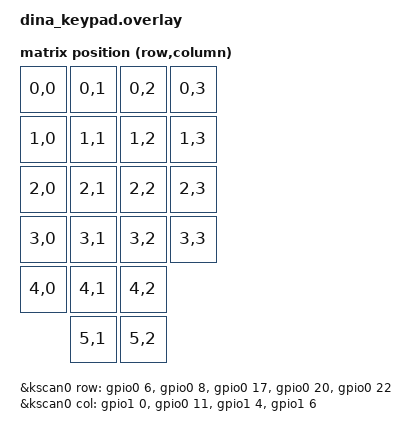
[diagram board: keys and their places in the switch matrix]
#include <dt-bindings/zmk/matrix_transform.h> // Put this with the other includes at the top of your overlay

/ {
    &kscan0 {
        compatible = "zmk,kscan-gpio-matrix";
        wakeup-source;
        diode-direction = "col2row";

        row-gpios = <&gpio0 6 (GPIO_ACTIVE_HIGH | GPIO_PULL_DOWN)>,
                    <&gpio0 8 (GPIO_ACTIVE_HIGH | GPIO_PULL_DOWN)>,
                    <&gpio0 17  (GPIO_ACTIVE_HIGH | GPIO_PULL_DOWN)>,
                    <&gpio0 20  (GPIO_ACTIVE_HIGH | GPIO_PULL_DOWN)>,
                    <&gpio0 22  (GPIO_ACTIVE_HIGH | GPIO_PULL_DOWN)>;
                    <&gpio0 24 (GPIO_ACTIVE_HIGH)>,
                    
        col-gpios = <&gpio1 0 (GPIO_ACTIVE_HIGH)>,
                    <&gpio0 11 (GPIO_ACTIVE_HIGH)>,
                    <&gpio1 4  (GPIO_ACTIVE_HIGH)>,
                    <&gpio1 6 (GPIO_ACTIVE_HIGH)>;
    };
                

    default_transform: keymap_transform0 {
        compatible = "zmk,matrix-transform";
        columns = <4>; // Length of the "col-gpios" array
        rows = <6>; // Length of the "row-gpios" array
        map = <
        
            RC(0,0) RC(0,1) RC(0,2) RC(0,3)
        
            RC(1,0) RC(1,1) RC(1,2) RC(1,3)
        
            RC(2,0) RC(2,1) RC(2,2) RC(2,3)

            RC(3,0) RC(3,1) RC(3,2) RC(3,3)

            RC(4,0) RC(4,1) RC(4,2)

                    RC(5,1) RC(5,2)
        >;
    };

    physical_layout0: physical_layout_0 { // First physical layout, use different naming for other layouts
        compatible = "zmk,physical-layout";
        display-name = "Default Layout";
        kscan = <&kscan0>; // Label of the kscan node, optional if all layouts use the same
        transform = <&default_transform>; // Label of the matrix transform for this layout
    };

    chosen {
        zmk,kscan = &kscan0;
        zmk,matrix-transform = &default_transform;
        zmk,physical-layout = &physical_layout0;
        // Other chosen items
    };

};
